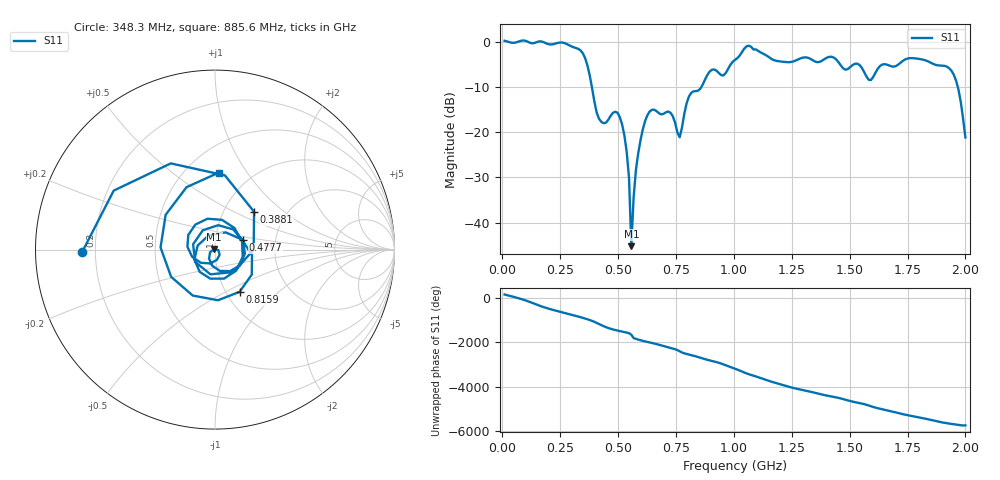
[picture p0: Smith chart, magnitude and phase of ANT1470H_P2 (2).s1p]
!Created with skrf (http://scikit-rf.org).
# Hz S RI R 50.0
!freq ReS11 ImS11
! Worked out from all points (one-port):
!   201 points, 10 MHz to 2 GHz, reference 50 ohm
!   lowest |S11| = -45.2 dB at 557.2 MHz (marker M1), VSWR 1.01, Z = 49.6 + j0.342 ohm
!   |S11| at or under -10 dB: 386.8 MHz to 859.7 MHz (472.9 MHz wide, 75.9 % of centre); 1.967 GHz to end of sweep
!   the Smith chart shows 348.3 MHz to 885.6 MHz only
!   S11 on the Smith chart (normalised r, x): 348.3 MHz: 0.15, -0.01; 388.1 MHz: 1.38, +0.64; 477.6 MHz: 1.36, +0.14; 816 MHz: 1.16, -0.59; 885.6 MHz: 0.71, +0.75
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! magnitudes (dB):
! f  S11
! 10 MHz  0.2
! 258.8 MHz  -0.2
! 348.3 MHz  -2.6
! 388.1 MHz  -10.4
! 427.9 MHz  -17.7
! 477.6 MHz  -15.7
! 507.5 MHz  -16.7
! 537.4 MHz  -24.4
! 547.3 MHz  -30.1
! 557.2 MHz  -45.2
! 567.2 MHz  -34.4
! 577.1 MHz  -28.3
! 626.9 MHz  -16.2
! 726.4 MHz  -15.7
! 756.2 MHz  -20.1
! 766.2 MHz  -21.1
! 816 MHz  -11.3
! 885.6 MHz  -7.3
! 955.2 MHz  -7.5
! 1.005 GHz  -4.0
! 1.065 GHz  -0.9
! 1.254 GHz  -4.4
! 1.502 GHz  -5.6
! 1.592 GHz  -8.5
! 1.751 GHz  -3.7
! 1.94 GHz  -6.5
! 1.97 GHz  -10.6
! 2 GHz  -21.2
